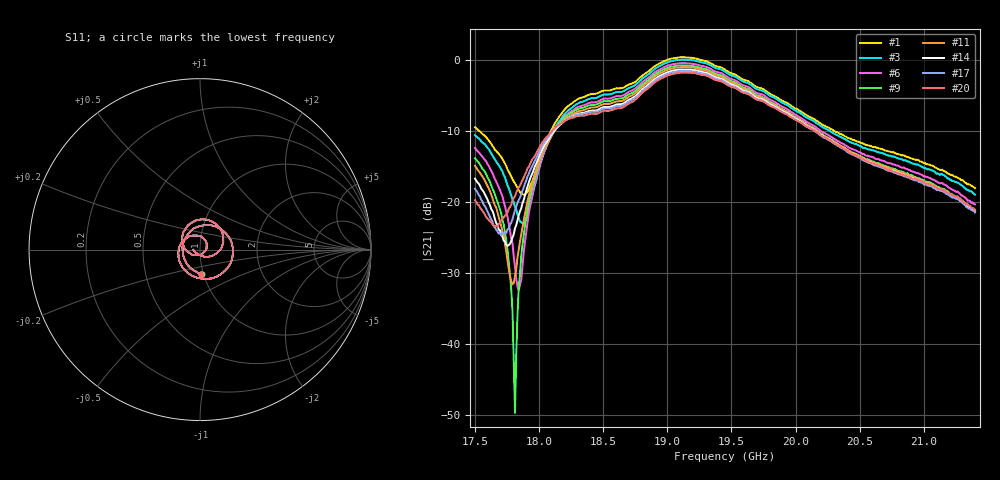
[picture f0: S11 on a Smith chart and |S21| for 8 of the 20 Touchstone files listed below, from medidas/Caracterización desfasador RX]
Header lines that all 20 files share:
!Created with skrf (http://scikit-rf.org).
# GHz S RI R 50.0
!freq ReS11 ImS11 ReS21 ImS21 ReS12 ImS12 ReS22 ImS22
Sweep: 17.5 GHz to 21.4 GHz
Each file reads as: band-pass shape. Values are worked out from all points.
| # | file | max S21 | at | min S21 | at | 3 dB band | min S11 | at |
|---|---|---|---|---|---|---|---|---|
| 1 | P3_amp_43.s2p | 0.40 dB | 19.11 GHz | -19.0 dB | 17.89 GHz | 18.79 GHz-19.58 GHz | -31.6 dB | 19.73 GHz |
| 2 | P3_amp_44.s2p | 0.18 dB | 19.13 GHz | -21.7 dB | 17.88 GHz | 18.79 GHz-19.58 GHz | -31.7 dB | 19.75 GHz |
| 3 | P3_amp_45.s2p | 0.06 dB | 19.11 GHz | -23.1 dB | 17.88 GHz | 18.79 GHz-19.58 GHz | -31.7 dB | 19.75 GHz |
| 4 | P3_amp_46.s2p | -0.08 dB | 19.14 GHz | -25.2 dB | 17.87 GHz | 18.79 GHz-19.57 GHz | -31.6 dB | 19.73 GHz |
| 5 | P3_amp_47.s2p | -0.21 dB | 19.1 GHz | -27.2 dB | 17.86 GHz | 18.79 GHz-19.58 GHz | -31.9 dB | 19.72 GHz |
| 6 | P3_amp_48.s2p | -0.43 dB | 19.13 GHz | -32.5 dB | 17.84 GHz | 18.79 GHz-19.57 GHz | -31.9 dB | 19.72 GHz |
| 7 | P3_amp_49.s2p | -0.53 dB | 19.11 GHz | -36.5 dB | 17.83 GHz | 18.79 GHz-19.57 GHz | -31.8 dB | 19.73 GHz |
| 8 | P3_amp_50.s2p | -0.65 dB | 19.13 GHz | -44.7 dB | 17.82 GHz | 18.79 GHz-19.57 GHz | -31.7 dB | 19.72 GHz |
| 9 | P3_amp_51.s2p | -0.74 dB | 19.11 GHz | -49.7 dB | 17.81 GHz | 18.79 GHz-19.57 GHz | -31.9 dB | 19.73 GHz |
| 10 | P3_amp_52.s2p | -0.90 dB | 19.14 GHz | -34.5 dB | 17.8 GHz | 18.8 GHz-19.58 GHz | -31.9 dB | 19.72 GHz |
| 11 | P3_amp_53.s2p | -0.97 dB | 19.14 GHz | -31.6 dB | 17.79 GHz | 18.8 GHz-19.58 GHz | -31.7 dB | 19.76 GHz |
| 12 | P3_amp_54.s2p | -1.08 dB | 19.11 GHz | -29.8 dB | 17.78 GHz | 18.8 GHz-19.58 GHz | -31.6 dB | 19.72 GHz |
| 13 | P3_amp_55.s2p | -1.17 dB | 19.11 GHz | -28.6 dB | 17.76 GHz | 18.8 GHz-19.59 GHz | -31.6 dB | 19.73 GHz |
| 14 | P3_amp_56.s2p | -1.32 dB | 19.14 GHz | -26.2 dB | 17.75 GHz | 18.8 GHz-19.6 GHz | -32.0 dB | 19.73 GHz |
| 15 | P3_amp_57.s2p | -1.37 dB | 19.14 GHz | -25.6 dB | 17.74 GHz | 18.8 GHz-19.6 GHz | -31.7 dB | 19.73 GHz |
| 16 | P3_amp_58.s2p | -1.46 dB | 19.14 GHz | -25.1 dB | 17.73 GHz | 18.8 GHz-19.6 GHz | -31.8 dB | 19.73 GHz |
| 17 | P3_amp_59.s2p | -1.54 dB | 19.11 GHz | -24.7 dB | 17.7 GHz | 18.8 GHz-19.61 GHz | -31.8 dB | 19.73 GHz |
| 18 | P3_amp_60.s2p | -1.64 dB | 19.15 GHz | -23.4 dB | 17.68 GHz | 18.81 GHz-19.62 GHz | -31.9 dB | 19.72 GHz |
| 19 | P3_amp_61.s2p | -1.70 dB | 19.14 GHz | -23.4 dB | 17.67 GHz | 18.8 GHz-19.62 GHz | -31.8 dB | 19.75 GHz |
| 20 | P3_amp_62.s2p | -1.76 dB | 19.13 GHz | -23.5 dB | 17.68 GHz | 18.8 GHz-19.63 GHz | -31.8 dB | 19.73 GHz |
